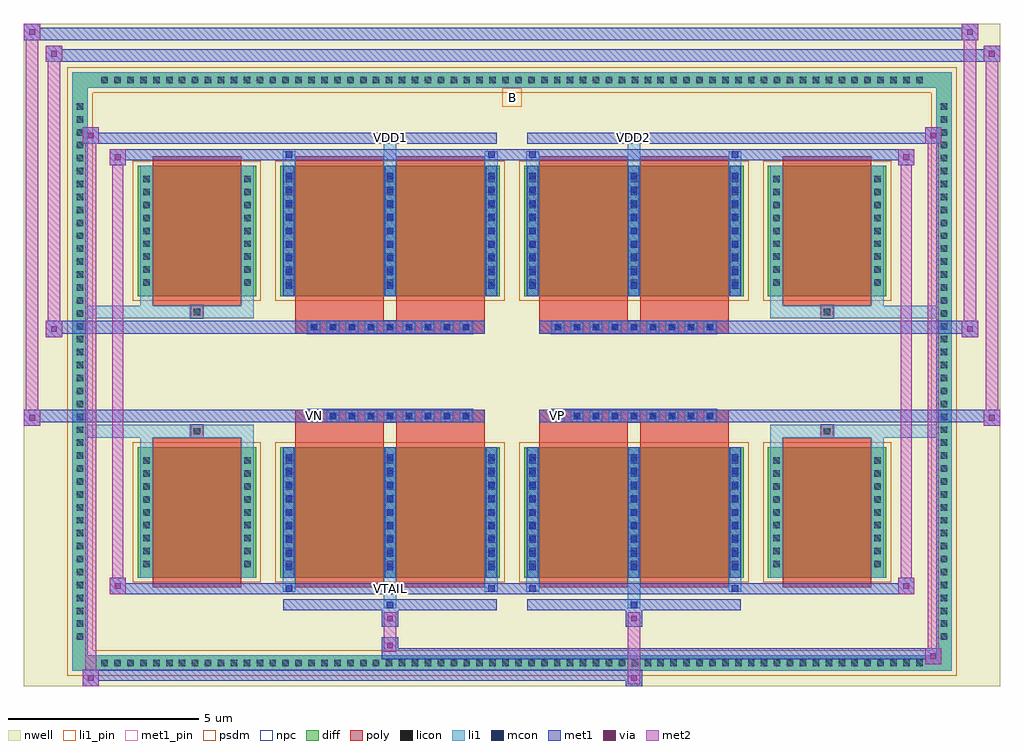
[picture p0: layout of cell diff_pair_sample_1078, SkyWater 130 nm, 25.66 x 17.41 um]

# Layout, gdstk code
import gdstk
lib = gdstk.Library(unit=1e-6, precision=5e-09)
def R(c, l, rs):  # rectangles x0, y0, x1, y1
    for r in rs: c.add(gdstk.rectangle(r[:2], r[2:], *l))
def A(c, l, x, y, w, h, nx, ny, dx, dy):  # array of equal rectangles
    R(c, l, [(x+i*dx, y+j*dy, x+i*dx+w, y+j*dy+h) for i in range(nx) for j in range(ny)])
def P(c, l, *ps):  # polygons
    for p in ps: c.add(gdstk.Polygon(p, *l))
nwell = (64, 20)
diff = (65, 20)
poly = (66, 20)
licon = (66, 44)
li1_pin = (67, 16)
li1 = (67, 20)
mcon = (67, 44)
met1_pin = (68, 16)
met1 = (68, 20)
via = (68, 44)
met2 = (69, 20)
psdm = (94, 20)
npc = (95, 20)

diff_pair_sample_1078 = lib.new_cell('diff_pair_sample_1078')
R(diff_pair_sample_1078, nwell, [(-12.83,-8.27,12.83,9.14), (-10.15,-6.46,-0.01,-0.8), (0.01,-6.46,10.15,-0.8), (-10.15,0.8,-0.01,6.46), (0.01,0.8,10.15,6.46)])
A(diff_pair_sample_1078, diff, -10.915, -7.87, 0.41, 0.41, 64, 2, 0.34, 15.33)
A(diff_pair_sample_1078, diff, -11.56, -7.175, 0.41, 0.41, 1, 42, 0, 0.34)
A(diff_pair_sample_1078, diff, 11.15, -7.175, 0.41, 0.41, 1, 42, 0, 0.34)
R(diff_pair_sample_1078, diff, [(-10.915,-7.87,10.915,-7.46), (-11.56,-7.175,-11.15,7.175), (11.15,-7.175,11.56,7.175), (-9.84,-5.415,-6.73,-1.985), (-6.09,-5.415,-0.32,-1.985), (0.32,-5.415,6.09,-1.985), (6.73,-5.415,9.84,-1.985), (-9.84,1.985,-6.73,5.415), (-6.09,1.985,-0.32,5.415), (0.32,1.985,6.09,5.415), (6.73,1.985,9.84,5.415), (-10.915,7.46,10.915,7.87)])
P(diff_pair_sample_1078, diff, [(11.56,7.87),(-11.56,7.87),(-11.56,-7.46),(-11.15,-7.46),(-11.15,7.46),(11.15,7.46),(11.15,-7.46),(-11.15,-7.46),(-11.56,-7.46),(-11.56,-7.87),(11.56,-7.87)])
A(diff_pair_sample_1078, poly, -5.37, -1.33, 0.33, 0.33, 9, 2, 0.5, 2.33)
A(diff_pair_sample_1078, poly, 1.04, -1.33, 0.33, 0.33, 9, 2, 0.5, 2.33)
R(diff_pair_sample_1078, poly, [(-9.45,-5.665,-7.12,-1.735), (-5.7,-5.665,-3.37,-1.735), (-3.04,-5.665,-0.71,-1.735), (0.71,-5.665,3.04,-1.735), (3.37,-5.665,5.7,-1.735), (7.12,-5.665,9.45,-1.735), (-8.45,-1.735,-8.12,-1.405), (-8.45,-1.735,-8.12,-1.405), (-5.7,-1.735,-3.37,-1.33), (-3.04,-1.735,-0.71,-1.33), (0.71,-1.735,3.04,-1.33), (3.37,-1.735,5.7,-1.33), (8.12,-1.735,8.45,-1.405), (8.12,-1.735,8.45,-1.405), (-5.7,-1.33,-0.71,-1), (0.71,-1.33,5.7,-1), (-5.7,1,-0.71,1.33), (0.71,1,5.7,1.33), (-5.7,1.33,-3.37,1.735), (-3.04,1.33,-0.71,1.735), (0.71,1.33,3.04,1.735), (3.37,1.33,5.7,1.735), (-8.45,1.405,-8.12,1.735), (-8.45,1.405,-8.12,1.735), (8.12,1.405,8.45,1.735), (8.12,1.405,8.45,1.735), (-9.45,1.735,-7.12,5.665), (-5.7,1.735,-3.37,5.665), (-3.04,1.735,-0.71,5.665), (0.71,1.735,3.04,5.665), (3.37,1.735,5.7,5.665), (7.12,1.735,9.45,5.665)])
A(diff_pair_sample_1078, licon, -10.795, -7.75, 0.17, 0.17, 64, 2, 0.34, 15.33)
A(diff_pair_sample_1078, licon, -11.44, -7.055, 0.17, 0.17, 1, 42, 0, 0.34)
A(diff_pair_sample_1078, licon, 11.27, -7.055, 0.17, 0.17, 1, 42, 0, 0.34)
A(diff_pair_sample_1078, licon, -9.7, -5.145, 0.17, 0.17, 1, 9, 0, 0.34)
A(diff_pair_sample_1078, licon, -7.04, -5.145, 0.17, 0.17, 1, 9, 0, 0.34)
A(diff_pair_sample_1078, licon, -5.95, -5.145, 0.17, 0.17, 3, 9, 2.66, 0.34)
A(diff_pair_sample_1078, licon, 0.46, -5.145, 0.17, 0.17, 3, 9, 2.66, 0.34)
A(diff_pair_sample_1078, licon, 6.87, -5.145, 0.17, 0.17, 1, 9, 0, 0.34)
A(diff_pair_sample_1078, licon, 9.53, -5.145, 0.17, 0.17, 1, 9, 0, 0.34)
A(diff_pair_sample_1078, licon, -5.29, -1.25, 0.17, 0.17, 9, 2, 0.5, 2.33)
A(diff_pair_sample_1078, licon, 1.12, -1.25, 0.17, 0.17, 9, 2, 0.5, 2.33)
A(diff_pair_sample_1078, licon, -9.7, 2.255, 0.17, 0.17, 1, 9, 0, 0.34)
A(diff_pair_sample_1078, licon, -7.04, 2.255, 0.17, 0.17, 1, 9, 0, 0.34)
A(diff_pair_sample_1078, licon, -5.95, 2.255, 0.17, 0.17, 3, 9, 2.66, 0.34)
A(diff_pair_sample_1078, licon, 0.46, 2.255, 0.17, 0.17, 3, 9, 2.66, 0.34)
A(diff_pair_sample_1078, licon, 6.87, 2.255, 0.17, 0.17, 1, 9, 0, 0.34)
A(diff_pair_sample_1078, licon, 9.53, 2.255, 0.17, 0.17, 1, 9, 0, 0.34)
R(diff_pair_sample_1078, licon, [(-8.37,-1.655,-8.2,-1.485), (8.2,-1.655,8.37,-1.485), (-8.37,1.485,-8.2,1.655), (8.2,1.485,8.37,1.655)])
R(diff_pair_sample_1078, li1_pin, [(-0.25,6.96,0.25,7.46)])
A(diff_pair_sample_1078, li1, -10.875, -7.83, 0.33, 0.33, 64, 2, 0.34, 15.33)
A(diff_pair_sample_1078, li1, -11.52, -7.135, 0.33, 0.33, 1, 42, 0, 0.34)
A(diff_pair_sample_1078, li1, 11.19, -7.135, 0.33, 0.33, 1, 42, 0, 0.34)
A(diff_pair_sample_1078, li1, -6.03, -5.415, 0.33, 3.43, 3, 2, 2.66, 7.4)
A(diff_pair_sample_1078, li1, 0.38, -5.415, 0.33, 3.43, 3, 2, 2.66, 7.4)
A(diff_pair_sample_1078, li1, -9.78, -5.225, 0.33, 0.33, 1, 9, 0, 0.34)
A(diff_pair_sample_1078, li1, -7.12, -5.225, 0.33, 0.33, 1, 9, 0, 0.34)
A(diff_pair_sample_1078, li1, -6.03, -5.225, 0.33, 0.33, 3, 9, 2.66, 0.34)
A(diff_pair_sample_1078, li1, -5.95, -5.225, 0.17, 0.17, 3, 9, 2.66, 0.36)
A(diff_pair_sample_1078, li1, -5.95, -5.225, 0.17, 3.05, 3, 2, 2.66, 7.4)
A(diff_pair_sample_1078, li1, 0.38, -5.225, 0.33, 0.33, 3, 9, 2.66, 0.34)
A(diff_pair_sample_1078, li1, 0.46, -5.225, 0.17, 0.17, 3, 9, 2.66, 0.36)
A(diff_pair_sample_1078, li1, 0.46, -5.225, 0.17, 3.05, 3, 2, 2.66, 7.4)
A(diff_pair_sample_1078, li1, 6.79, -5.225, 0.33, 0.33, 1, 9, 0, 0.34)
A(diff_pair_sample_1078, li1, 9.45, -5.225, 0.33, 0.33, 1, 9, 0, 0.34)
A(diff_pair_sample_1078, li1, -5.37, -1.33, 0.33, 0.33, 9, 2, 0.5, 2.33)
A(diff_pair_sample_1078, li1, 1.04, -1.33, 0.33, 0.33, 9, 2, 0.5, 2.33)
A(diff_pair_sample_1078, li1, -9.78, 2.175, 0.33, 0.33, 1, 9, 0, 0.34)
A(diff_pair_sample_1078, li1, -7.12, 2.175, 0.33, 0.33, 1, 9, 0, 0.34)
A(diff_pair_sample_1078, li1, -6.03, 2.175, 0.33, 0.33, 3, 9, 2.66, 0.34)
A(diff_pair_sample_1078, li1, -5.95, 2.175, 0.17, 0.17, 3, 9, 2.66, 0.36)
A(diff_pair_sample_1078, li1, 0.38, 2.175, 0.33, 0.33, 3, 9, 2.66, 0.34)
A(diff_pair_sample_1078, li1, 0.46, 2.175, 0.17, 0.17, 3, 9, 2.66, 0.36)
A(diff_pair_sample_1078, li1, 6.79, 2.175, 0.33, 0.33, 1, 9, 0, 0.34)
A(diff_pair_sample_1078, li1, 9.45, 2.175, 0.33, 0.33, 1, 9, 0, 0.34)
R(diff_pair_sample_1078, li1, [(-11.56,-7.87,-11.15,-7.46), (-11.56,-7.87,-11.15,-7.46), (-11.15,-7.87,11.15,-7.46), (11.15,-7.87,11.56,-7.46), (11.15,-7.87,11.56,-7.46), (-11.56,-7.46,-11.15,7.46), (11.15,-7.46,11.56,7.46), (-3.37,-6.22,-3.04,-5.415), (-3.29,-6.22,-3.12,-6.05), (3.04,-6.22,3.37,-5.415), (3.12,-6.22,3.29,-6.05), (-6.03,-5.79,-5.7,-5.415), (-5.95,-5.79,-5.78,-5.62), (-0.71,-5.79,-0.38,-5.415), (-0.63,-5.79,-0.46,-5.62), (0.38,-5.79,0.71,-5.415), (0.46,-5.79,0.63,-5.62), (5.7,-5.79,6.03,-5.415), (5.78,-5.79,5.95,-5.62), (-9.78,-5.415,-9.45,-1.985), (-7.12,-5.415,-6.79,-1.985), (6.79,-5.415,7.12,-1.985), (9.45,-5.415,9.78,-1.985), (-9.78,-1.985,-9.45,-1.405), (-7.12,-1.985,-6.79,-1.405), (6.79,-1.985,7.12,-1.405), (9.45,-1.985,9.78,-1.405), (-11.56,-1.735,-8.45,-1.405), (-9.78,-1.735,-8.45,-1.405), (-8.45,-1.735,-8.12,-1.405), (-8.12,-1.735,-6.79,-1.405), (6.79,-1.735,8.12,-1.405), (8.12,-1.735,8.45,-1.405), (8.12,-1.735,11.56,-1.405), (8.45,-1.735,9.78,-1.405), (-11.56,1.405,-8.45,1.735), (-9.78,1.405,-8.45,1.735), (-9.78,1.405,-9.45,1.985), (-8.45,1.405,-8.12,1.735), (-8.12,1.405,-6.79,1.735), (-7.12,1.405,-6.79,1.985), (6.79,1.405,8.12,1.735), (6.79,1.405,7.12,1.985), (8.12,1.405,8.45,1.735), (8.12,1.405,11.56,1.735), (8.45,1.405,9.78,1.735), (9.45,1.405,9.78,1.985), (-9.78,1.985,-9.45,5.415), (-7.12,1.985,-6.79,5.415), (6.79,1.985,7.12,5.415), (9.45,1.985,9.78,5.415), (-6.03,5.415,-5.7,5.79), (-3.37,5.415,-3.04,6.22), (-0.71,5.415,-0.38,5.79), (0.38,5.415,0.71,5.79), (3.04,5.415,3.37,6.22), (5.7,5.415,6.03,5.79), (-5.95,5.62,-5.78,5.79), (-0.63,5.62,-0.46,5.79), (0.46,5.62,0.63,5.79), (5.78,5.62,5.95,5.79), (-3.29,6.05,-3.12,6.22), (3.12,6.05,3.29,6.22), (-11.56,7.46,-11.15,7.87), (-11.56,7.46,-11.15,7.87), (-11.15,7.46,11.15,7.87), (11.15,7.46,11.56,7.87), (11.15,7.46,11.56,7.87)])
A(diff_pair_sample_1078, mcon, -5.95, -5.225, 0.17, 0.17, 3, 9, 2.66, 0.36)
A(diff_pair_sample_1078, mcon, 0.46, -5.225, 0.17, 0.17, 3, 9, 2.66, 0.36)
A(diff_pair_sample_1078, mcon, -5.29, -1.25, 0.17, 0.17, 9, 2, 0.5, 2.33)
A(diff_pair_sample_1078, mcon, 1.12, -1.25, 0.17, 0.17, 9, 2, 0.5, 2.33)
A(diff_pair_sample_1078, mcon, -5.95, 2.175, 0.17, 0.17, 3, 9, 2.66, 0.36)
A(diff_pair_sample_1078, mcon, 0.46, 2.175, 0.17, 0.17, 3, 9, 2.66, 0.36)
R(diff_pair_sample_1078, mcon, [(-3.29,-6.22,-3.12,-6.05), (3.12,-6.22,3.29,-6.05), (-5.95,-5.79,-5.78,-5.62), (-0.63,-5.79,-0.46,-5.62), (0.46,-5.79,0.63,-5.62), (5.78,-5.79,5.95,-5.62), (-5.95,5.62,-5.78,5.79), (-0.63,5.62,-0.46,5.79), (0.46,5.62,0.63,5.79), (5.78,5.62,5.95,5.79), (-3.29,6.05,-3.12,6.22), (3.12,6.05,3.29,6.22)])
R(diff_pair_sample_1078, met1_pin, [(-3.34,-5.83,-3.07,-5.56), (-5.34,-1.29,-5.07,-1.02), (1.07,-1.29,1.34,-1.02), (-3.34,6.01,-3.07,6.28), (3.07,6.01,3.34,6.28)])
A(diff_pair_sample_1078, met1, -6.01, -5.415, 0.29, 3.43, 3, 2, 2.66, 7.4)
A(diff_pair_sample_1078, met1, 0.4, -5.415, 0.29, 3.43, 3, 2, 2.66, 7.4)
A(diff_pair_sample_1078, met1, -6.01, -5.285, 0.29, 0.29, 3, 9, 2.66, 0.36)
A(diff_pair_sample_1078, met1, 0.4, -5.285, 0.29, 0.29, 3, 9, 2.66, 0.36)
A(diff_pair_sample_1078, met1, -5.35, -1.31, 0.29, 0.29, 9, 2, 0.5, 2.33)
A(diff_pair_sample_1078, met1, 1.06, -1.31, 0.29, 0.29, 9, 2, 0.5, 2.33)
A(diff_pair_sample_1078, met1, -6.01, 2.115, 0.29, 0.29, 3, 9, 2.66, 0.36)
A(diff_pair_sample_1078, met1, 0.4, 2.115, 0.29, 0.29, 3, 9, 2.66, 0.36)
R(diff_pair_sample_1078, met1, [(-11.29,-8.27,-10.86,-7.84), (2.99,-8.27,3.42,-7.84), (-11.29,-8.13,3.42,-7.84), (10.86,-7.7,11.29,-7.27), (-3.42,-7.56,11.29,-7.27), (-3.42,-7.42,-2.99,-6.99), (-3.42,-6.71,-2.99,-6.28), (2.99,-6.71,3.42,-6.28), (-6.01,-6.28,-0.4,-5.99), (-3.35,-6.28,-3.06,-5.99), (0.4,-6.28,6.01,-5.99), (3.06,-6.28,3.35,-5.99), (-10.58,-5.85,-10.15,-5.42), (-10.58,-5.85,-6.01,-5.56), (-6.01,-5.85,-5.72,-5.56), (-6.01,-5.85,-0.4,-5.56), (-0.69,-5.85,-0.4,-5.56), (-0.4,-5.85,0.4,-5.56), (0.4,-5.85,0.69,-5.56), (0.4,-5.85,6.01,-5.56), (5.72,-5.85,6.01,-5.56), (6.01,-5.85,10.58,-5.56), (10.15,-5.85,10.58,-5.42), (-12.83,-1.43,-12.4,-1), (12.4,-1.43,12.83,-1), (-12.83,-1.33,-0.71,-1), (-5.7,-1.33,-0.71,-1), (0.71,-1.33,5.7,-1), (0.71,-1.33,12.83,-1), (-12.26,0.9,-11.83,1.33), (11.83,0.9,12.26,1.33), (-12.26,1,-5.7,1.33), (-5.7,1,-0.71,1.33), (0.71,1,5.7,1.33), (5.7,1,12.26,1.33), (-10.58,5.42,-10.15,5.85), (10.15,5.42,10.58,5.85), (-10.58,5.56,-6.01,5.85), (-6.01,5.56,-5.72,5.85), (-6.01,5.56,-0.4,5.85), (-0.69,5.56,-0.4,5.85), (-0.4,5.56,0.4,5.85), (0.4,5.56,0.69,5.85), (0.4,5.56,6.01,5.85), (5.72,5.56,6.01,5.85), (6.01,5.56,10.58,5.85), (-11.29,5.99,-10.86,6.42), (-11.29,5.99,-6.01,6.28), (-6.01,5.99,-0.4,6.28), (-3.35,5.99,-3.06,6.28), (0.4,5.99,6.01,6.28), (3.06,5.99,3.35,6.28), (6.01,5.99,11.29,6.28), (10.86,5.99,11.29,6.42), (-12.26,8.14,-11.83,8.57), (-12.26,8.14,-10.15,8.47), (-10.15,8.14,10.15,8.47), (10.15,8.14,12.83,8.47), (12.4,8.14,12.83,8.57), (-12.83,8.71,-12.4,9.14), (-12.83,8.71,-10.15,9.04), (-10.15,8.71,10.15,9.04), (10.15,8.71,12.26,9.04), (11.83,8.71,12.26,9.14)])
R(diff_pair_sample_1078, via, [(-11.15,-8.13,-11,-7.98), (3.13,-8.13,3.28,-7.98), (11,-7.56,11.15,-7.41), (-3.28,-7.28,-3.13,-7.13), (-3.28,-6.57,-3.13,-6.42), (3.13,-6.57,3.28,-6.42), (-10.44,-5.71,-10.29,-5.56), (10.29,-5.71,10.44,-5.56), (-12.69,-1.29,-12.54,-1.14), (12.54,-1.29,12.69,-1.14), (-12.12,1.04,-11.97,1.19), (11.97,1.04,12.12,1.19), (-10.44,5.56,-10.29,5.71), (10.29,5.56,10.44,5.71), (-11.15,6.13,-11,6.28), (11,6.13,11.15,6.28), (-12.12,8.28,-11.97,8.43), (12.54,8.28,12.69,8.43), (-12.69,8.85,-12.54,9), (11.97,8.85,12.12,9)])
R(diff_pair_sample_1078, met2, [(-11.29,-8.27,-10.86,-7.84), (-11.22,-8.27,-10.93,6.42), (-10.93,-8.27,-10.86,-7.84), (-11.24,-8.22,-10.91,-7.89), (3.04,-8.22,3.37,-7.89), (3.04,-7.89,3.37,-6.66), (10.86,-7.7,11.29,-7.27), (10.93,-7.7,11.22,6.42), (11.22,-7.7,11.29,-7.27), (10.91,-7.65,11.24,-7.32), (-3.37,-7.37,-3.04,-7.04), (-3.37,-7.04,-3.04,-6.66), (-3.37,-6.66,-3.04,-6.33), (3.04,-6.66,3.37,-6.33), (-10.58,-5.85,-10.15,-5.42), (-10.51,-5.85,-10.22,5.85), (-10.22,-5.85,-10.15,-5.42), (10.15,-5.85,10.58,-5.42), (10.22,-5.85,10.51,5.85), (10.51,-5.85,10.58,-5.42), (-10.53,-5.8,-10.2,-5.47), (10.2,-5.8,10.53,-5.47), (-12.83,-1.43,-12.4,-1), (-12.78,-1.43,-12.45,9.14), (-12.45,-1.43,-12.4,-1), (12.4,-1.43,12.83,-1), (12.45,-1.43,12.78,8.57), (12.78,-1.43,12.83,-1), (-12.78,-1.38,-12.45,-1.05), (12.45,-1.38,12.78,-1.05), (-12.26,0.9,-11.83,1.33), (-12.21,0.9,-11.88,8.57), (-11.88,0.9,-11.83,1.33), (11.83,0.9,12.26,1.33), (11.88,0.9,12.21,9.14), (12.21,0.9,12.26,1.33), (-12.21,0.95,-11.88,1.28), (11.88,0.95,12.21,1.28), (-10.58,5.42,-10.15,5.85), (-10.22,5.42,-10.15,5.85), (10.15,5.42,10.58,5.85), (10.51,5.42,10.58,5.85), (-10.53,5.47,-10.2,5.8), (10.2,5.47,10.53,5.8), (-11.29,5.99,-10.86,6.42), (-10.93,5.99,-10.86,6.42), (10.86,5.99,11.29,6.42), (11.22,5.99,11.29,6.42), (-11.24,6.04,-10.91,6.37), (10.91,6.04,11.24,6.37), (-12.26,8.14,-11.83,8.57), (-11.88,8.14,-11.83,8.57), (12.4,8.14,12.83,8.57), (12.78,8.14,12.83,8.57), (-12.21,8.19,-11.88,8.52), (12.45,8.19,12.78,8.52), (-12.83,8.71,-12.4,9.14), (-12.45,8.71,-12.4,9.14), (11.83,8.71,12.26,9.14), (12.21,8.71,12.26,9.14), (-12.78,8.76,-12.45,9.09), (11.88,8.76,12.21,9.09)])
R(diff_pair_sample_1078, psdm, [(-9.97,-5.545,-6.6,-1.855), (-6.22,-5.545,-0.19,-1.855), (0.19,-5.545,6.22,-1.855), (6.6,-5.545,9.97,-1.855), (-9.97,1.855,-6.6,5.545), (-6.22,1.855,-0.19,5.545), (0.19,1.855,6.22,5.545), (6.6,1.855,9.97,5.545)])
P(diff_pair_sample_1078, psdm, [(11.69,8),(-11.69,8),(-11.69,-7.33),(-11.02,-7.33),(-11.02,7.33),(11.02,7.33),(11.02,-7.33),(-11.02,-7.33),(-11.69,-7.33),(-11.69,-8),(11.69,-8)])
A(diff_pair_sample_1078, npc, -5.39, -1.35, 0.37, 0.37, 9, 2, 0.5, 2.33)
A(diff_pair_sample_1078, npc, 1.02, -1.35, 0.37, 0.37, 9, 2, 0.5, 2.33)
R(diff_pair_sample_1078, npc, [(-8.47,-1.755,-8.1,-1.385), (8.1,-1.755,8.47,-1.385), (-5.39,-1.35,-4.52,-0.98), (-5.39,-1.35,-4.52,-0.98), (-4.89,-1.35,-4.02,-0.98), (-4.89,-1.35,-4.02,-0.98), (-4.39,-1.35,-3.52,-0.98), (-4.39,-1.35,-3.52,-0.98), (-3.89,-1.35,-3.02,-0.98), (-3.89,-1.35,-3.02,-0.98), (-3.39,-1.35,-2.52,-0.98), (-3.39,-1.35,-2.52,-0.98), (-2.89,-1.35,-2.02,-0.98), (-2.89,-1.35,-2.02,-0.98), (-2.39,-1.35,-1.52,-0.98), (-2.39,-1.35,-1.52,-0.98), (-1.89,-1.35,-1.02,-0.98), (-1.89,-1.35,-1.02,-0.98), (1.02,-1.35,1.89,-0.98), (1.02,-1.35,1.89,-0.98), (1.52,-1.35,2.39,-0.98), (1.52,-1.35,2.39,-0.98), (2.02,-1.35,2.89,-0.98), (2.02,-1.35,2.89,-0.98), (2.52,-1.35,3.39,-0.98), (2.52,-1.35,3.39,-0.98), (3.02,-1.35,3.89,-0.98), (3.02,-1.35,3.89,-0.98), (3.52,-1.35,4.39,-0.98), (3.52,-1.35,4.39,-0.98), (4.02,-1.35,4.89,-0.98), (4.02,-1.35,4.89,-0.98), (4.52,-1.35,5.39,-0.98), (4.52,-1.35,5.39,-0.98), (-5.39,0.98,-4.52,1.35), (-5.39,0.98,-4.52,1.35), (-4.89,0.98,-4.02,1.35), (-4.89,0.98,-4.02,1.35), (-4.39,0.98,-3.52,1.35), (-4.39,0.98,-3.52,1.35), (-3.89,0.98,-3.02,1.35), (-3.89,0.98,-3.02,1.35), (-3.39,0.98,-2.52,1.35), (-3.39,0.98,-2.52,1.35), (-2.89,0.98,-2.02,1.35), (-2.89,0.98,-2.02,1.35), (-2.39,0.98,-1.52,1.35), (-2.39,0.98,-1.52,1.35), (-1.89,0.98,-1.02,1.35), (-1.89,0.98,-1.02,1.35), (1.02,0.98,1.89,1.35), (1.02,0.98,1.89,1.35), (1.52,0.98,2.39,1.35), (1.52,0.98,2.39,1.35), (2.02,0.98,2.89,1.35), (2.02,0.98,2.89,1.35), (2.52,0.98,3.39,1.35), (2.52,0.98,3.39,1.35), (3.02,0.98,3.89,1.35), (3.02,0.98,3.89,1.35), (3.52,0.98,4.39,1.35), (3.52,0.98,4.39,1.35), (4.02,0.98,4.89,1.35), (4.02,0.98,4.89,1.35), (4.52,0.98,5.39,1.35), (4.52,0.98,5.39,1.35), (-8.47,1.385,-8.1,1.755), (8.1,1.385,8.47,1.755)])
diff_pair_sample_1078.add(gdstk.Label('VTAIL', (-3.205,-5.695), layer=68, texttype=5))
diff_pair_sample_1078.add(gdstk.Label('VN', (-5.205,-1.155), layer=68, texttype=5))
diff_pair_sample_1078.add(gdstk.Label('VP', (1.205,-1.155), layer=68, texttype=5))
diff_pair_sample_1078.add(gdstk.Label('B', (0,7.21), layer=67, texttype=5))
diff_pair_sample_1078.add(gdstk.Label('VDD2', (3.205,6.145), layer=68, texttype=5))
diff_pair_sample_1078.add(gdstk.Label('VDD1', (-3.205,6.145), layer=68, texttype=5))

lib.write_gds('diff_pair_sample_1078.gds')
